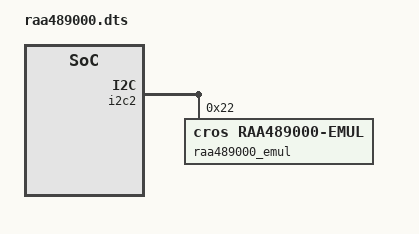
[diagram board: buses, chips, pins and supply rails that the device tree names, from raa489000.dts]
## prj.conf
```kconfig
# Copyright 2024 The ChromiumOS Authors
# Use of this source code is governed by a BSD-style license that can be
# found in the LICENSE file.

CONFIG_PLATFORM_EC_USB_PD_TCPM_RAA489000=y
```

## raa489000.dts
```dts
/* Copyright 2024 The ChromiumOS Authors
 * Use of this source code is governed by a BSD-style license that can be
 * found in the LICENSE file.
 */

#include <dt-bindings/usb_pd_tcpm.h>

/ {
	usbc {
		port0@0 {
			compatible = "named-usbc-port";
			tcpc = <&raa489000_emul>;
		};
	};
};

&i2c2 {
	status="okay";

	raa489000_emul: raa489000@22 {
		compatible = "cros,raa489000-emul", "renesas,raa489000";
		status = "okay";
		reg = <0x22>;
		tcpc-flags = <(
			TCPC_FLAGS_TCPCI_REV2_0 |
			TCPC_FLAGS_VBUS_MONITOR)>;
	};
};
```

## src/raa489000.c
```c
/* Copyright 2025 The ChromiumOS Authors
 * Use of this source code is governed by a BSD-style license that can be
 * found in the LICENSE file.
 */

#include "driver/tcpm/raa489000.h"
#include "driver/tcpm/tcpci.h"
#include "emul/tcpc/emul_raa489000.h"
#include "emul/tcpc/emul_tcpci.h"
#include "test/drivers/tcpci_test_common.h"
#include "test/drivers/test_state.h"
#include "usb_pd_tcpm.h"

#include <zephyr/drivers/emul.h>
#include <zephyr/fff.h>
#include <zephyr/ztest.h>

#define RAA489000_PORT 0
#define RAA489000_EMUL_NODE DT_NODELABEL(raa489000_emul)

FAKE_VALUE_FUNC(bool, pd_vbus_valid_for_bist, int);

ZTEST(tcpc_raa489000, test_check_vendor)
{
	int v;

	zassert_ok(tcpc_read16(RAA489000_PORT, TCPC_REG_VENDOR_ID, &v));
	zassert_equal(v, 0x45b);

	tcpm_dump_registers(RAA489000_PORT);
}

void test_tcpci_get_rx_message_raw(const struct emul *emul,
				   struct i2c_common_emul_data *common_data,
				   enum usbc_port port)
{
	const struct tcpm_drv *drv = tcpc_config[port].drv;
	struct tcpci_emul_msg msg;
	uint32_t payload[1];
	/* bist mode message header and payload */
	uint8_t buf[32] = {0x3, 0x30, 0x0, 0x0, 0x0, 0x80};
	int head;
	int size;
	bool bist_enabled;

	RESET_FAKE(pd_vbus_valid_for_bist);
	pd_vbus_valid_for_bist_fake.return_val = 1;

	tcpci_emul_set_reg(emul, TCPC_REG_RX_DETECT,
			   TCPC_REG_RX_DETECT_SOP | TCPC_REG_RX_DETECT_SOPP);

	msg.buf = buf;
	msg.cnt = 31;
	msg.sop_type = TCPCI_MSG_SOP;
	zassert_equal(TCPCI_EMUL_TX_SUCCESS,
		      tcpci_emul_add_rx_msg(emul, &msg, true),
		      "Failed to setup emulator message");

	/* Test fail on reading message */
	i2c_common_emul_set_read_fail_reg(common_data, TCPC_REG_RX_BUFFER);
	zassert_equal(EC_ERROR_UNKNOWN,
		      drv->get_message_raw(port, payload, &head), NULL);
	i2c_common_emul_set_read_fail_reg(common_data,
					  I2C_COMMON_EMUL_NO_FAIL_REG);

	/* Test bist mode true */
	size = 28;
	msg.cnt = size + 2;
	msg.sop_type = TCPCI_MSG_SOP_PRIME;
	zassert_equal(TCPCI_EMUL_TX_SUCCESS,
		      tcpci_emul_add_rx_msg(emul, &msg, true),
		      "Failed to setup emulator message");

	zassert_equal(EC_SUCCESS, drv->set_bist_test_mode(port, false));
	zassert_equal(EC_SUCCESS, drv->get_message_raw(port, payload, &head),
		      NULL);
	zassert_equal(EC_SUCCESS, drv->get_bist_test_mode(port, &bist_enabled),
		      NULL);
	zassert_true(bist_enabled, "BIST mode should be enabled");
	

	/* Test bist mode already true */
	zassert_equal(TCPCI_EMUL_TX_SUCCESS,
		      tcpci_emul_add_rx_msg(emul, &msg, true),
		      "Failed to setup emulator message");

	zassert_equal(EC_SUCCESS, drv->set_bist_test_mode(port, true));
	zassert_equal(EC_SUCCESS, drv->get_message_raw(port, payload, &head),
		      NULL);
	zassert_equal(EC_SUCCESS, drv->get_bist_test_mode(port, &bist_enabled),
		      NULL);
	zassert_true(bist_enabled, "BIST mode should be disabled");
}

static void test_raa489000_tcpci_get_rx_message_raw(void)
{
	const struct emul *raa489000_emul = EMUL_DT_GET(RAA489000_EMUL_NODE);
	struct i2c_common_emul_data *common_data =
		emul_tcpci_generic_get_i2c_common_data(raa489000_emul);

	test_tcpci_get_rx_message_raw(raa489000_emul, common_data, RAA489000_PORT);
}

ZTEST(tcpc_raa489000, test_tcpci_get_rx_message_raw)
{
	test_raa489000_tcpci_get_rx_message_raw();
}

ZTEST_SUITE(tcpc_raa489000, drivers_predicate_post_main, NULL, NULL, NULL,
	    NULL);
```
